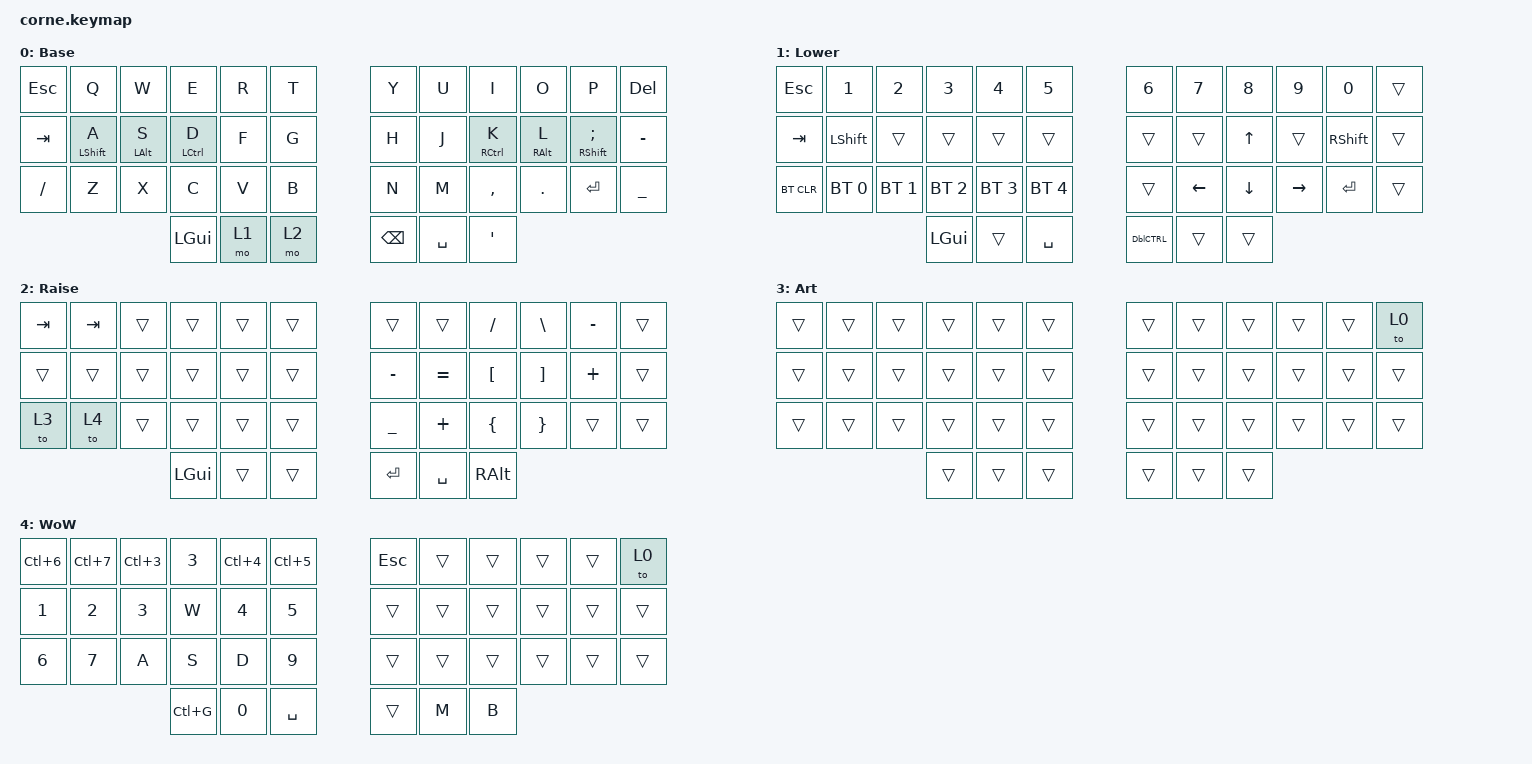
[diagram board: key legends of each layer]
/*
 * Copyright (c) 2020 The ZMK Contributors
 *
 * SPDX-License-Identifier: MIT
 */

#include <behaviors.dtsi>
#include <dt-bindings/zmk/bt.h>
#include <dt-bindings/zmk/keys.h>

/ {
    macros {
        DblCTRL: DblCTRL {
            compatible = "zmk,behavior-macro";
            #binding-cells = <0>;
            bindings = <&kp LEFT_CONTROL &kp LEFT_CONTROL>;
            label = "DBLCTRL";
        };
    };

    behaviors {
        Hold_Tap: Hold_Tap {
            compatible = "zmk,behavior-hold-tap";
            label = "HOLD_TAP";
            bindings = <&kp>, <&kp>;

            #binding-cells = <2>;
            flavor = "balanced";
            tapping-term-ms = <250>;
            quick-tap-ms = <175>;
            require-prior-idle-ms = <150>;
            hold-trigger-on-release;
            hold-trigger-key-positions = <13 14 15 20 21 22>;
        };
    };

    keymap {
        compatible = "zmk,keymap";

        default_layer {
            // -----------------------------------------------------------------------------------------
            // |  TAB |  Q  |  W  |  E  |  R  |  T  |   |  Y  |  U   |  I  |  O  |  P  | BKSP |
            // | CTRL |  A  |  S  |  D  |  F  |  G  |   |  H  |  J   |  K  |  L  |  ;  |  '   |
            // | SHFT |  Z  |  X  |  C  |  V  |  B  |   |  N  |  M   |  ,  |  .  |  /  | ESC  |
            //                    | GUI | LWR | SPC |   | ENT | RSE  | ALT |

            display-name = "Base";
            bindings = <
&kp ESCAPE  &kp Q                   &kp W                 &kp E                     &kp R  &kp T    &kp Y          &kp U      &kp I                      &kp O                  &kp P                            &kp DELETE
&kp TAB     &Hold_Tap LEFT_SHIFT A  &Hold_Tap LEFT_ALT S  &Hold_Tap LEFT_CONTROL D  &kp F  &kp G    &kp H          &kp J      &Hold_Tap RIGHT_CONTROL K  &Hold_Tap RIGHT_ALT L  &Hold_Tap RIGHT_SHIFT SEMICOLON  &kp MINUS
&kp SLASH   &kp Z                   &kp X                 &kp C                     &kp V  &kp B    &kp N          &kp M      &kp COMMA                  &kp DOT                &kp RETURN                       &kp UNDERSCORE
                                                          &kp LEFT_GUI              &mo 1  &mo 2    &kp BACKSPACE  &kp SPACE  &kp SQT
            >;
        };

        lower_layer {
            // -----------------------------------------------------------------------------------------
            // |  TAB |  1  |  2  |  3  |  4  |  5  |   |  6  |  7  |  8  |  9  |  0  | BKSP |
            // | BTCLR| BT1 | BT2 | BT3 | BT4 | BT5 |   | LFT | DWN |  UP | RGT |     |      |
            // | SHFT |     |     |     |     |     |   |     |     |     |     |     |      |
            //                    | GUI |     | SPC |   | ENT |     | ALT |

            display-name = "Lower";
            bindings = <
&kp ESCAPE  &kp N1          &kp N2        &kp N3        &kp N4        &kp N5          &kp N6    &kp N7          &kp N8          &kp N9           &kp N0           &trans
&kp TAB     &kp LEFT_SHIFT  &trans        &trans        &trans        &trans          &trans    &trans          &kp UP          &trans           &kp RIGHT_SHIFT  &trans
&bt BT_CLR  &bt BT_SEL 0    &bt BT_SEL 1  &bt BT_SEL 2  &bt BT_SEL 3  &bt BT_SEL 4    &trans    &kp LEFT_ARROW  &kp DOWN_ARROW  &kp RIGHT_ARROW  &kp RETURN       &trans
                                          &kp LGUI      &trans        &kp SPACE       &DblCTRL  &trans          &trans
            >;
        };

        raise_layer {
            // -----------------------------------------------------------------------------------------
            // |  TAB |  !  |  @  |  #  |  $  |  %  |   |  ^  |  &  |  *  |  (  |  )  | BKSP |
            // | CTRL |     |     |     |     |     |   |  -  |  =  |  [  |  ]  |  \  |  `   |
            // | SHFT |     |     |     |     |     |   |  _  |  +  |  {  |  }  | "|" |  ~   |
            //                    | GUI |     | SPC |   | ENT |     | ALT |

            display-name = "Raise";
            bindings = <
&kp TAB  &kp TAB  &trans  &trans    &trans  &trans    &trans     &trans     &kp SLASH  &kp BACKSLASH  &kp MINUS  &trans
&trans   &trans   &trans  &trans    &trans  &trans    &kp MINUS  &kp EQUAL  &kp LBKT   &kp RBKT       &kp PLUS   &trans
&to 3    &to 4    &trans  &trans    &trans  &trans    &kp UNDER  &kp PLUS   &kp LBRC   &kp RBRC       &trans     &trans
                          &kp LGUI  &trans  &trans    &kp RET    &kp SPACE  &kp RALT
            >;
        };

        Creative {
            display-name = "Art";
            bindings = <
&trans  &trans  &trans  &trans  &trans  &trans    &trans  &trans  &trans  &trans  &trans  &to 0
&trans  &trans  &trans  &trans  &trans  &trans    &trans  &trans  &trans  &trans  &trans  &trans
&trans  &trans  &trans  &trans  &trans  &trans    &trans  &trans  &trans  &trans  &trans  &trans
                        &trans  &trans  &trans    &trans  &trans  &trans
            >;
        };

        WoW {
            display-name = "WoW";
            bindings = <
&kp LC(NUMBER_6)  &kp LC(NUMBER_7)  &kp LC(NUMBER_3)  &kp NUMBER_3  &kp LC(NUMBER_4)  &kp LC(NUMBER_5)    &kp ESCAPE  &trans  &trans  &trans  &trans  &to 0
&kp NUMBER_1      &kp NUMBER_2      &kp NUMBER_3      &kp W         &kp NUMBER_4      &kp NUMBER_5        &trans      &trans  &trans  &trans  &trans  &trans
&kp NUMBER_6      &kp NUMBER_7      &kp A             &kp S         &kp D             &kp NUMBER_9        &trans      &trans  &trans  &trans  &trans  &trans
                                                      &kp LC(G)     &kp NUMBER_0      &kp SPACE           &trans      &kp M   &kp B
            >;
        };
    };
};
